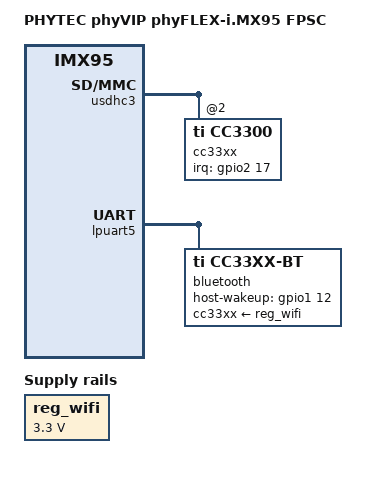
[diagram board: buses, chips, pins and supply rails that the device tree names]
// SPDX-License-Identifier: (GPL-2.0+ OR MIT)
/*
 * Copyright 2026 PHYTEC Messtechnik GmbH
 *
 * PHYTEC phyVIP carrier (PV-05832-001-1645-0-004) with phyFLEX-i.MX95 FPSC.
 *
 * The phyVIP and the Libra RDK use the same SoM, so this board is described as
 * a delta on top of the RDK device tree rather than as a copy of it. Everything
 * SoM-side is inherited unchanged; what differs is the carrier.
 *
 * The one structural difference is that the phyVIP has NO I2C GPIO expanders.
 * The RDK fits two ti,tcal6416 at 0x21 and hangs a fair amount of board control
 * off them; on phyVIP neither responds, verified on hardware:
 *
 *   i2cdetect -y -r 2   ->  0x21 absent   (426b0000.i2c, gpio_expander1)
 *   i2cdetect -y -r 3   ->  0x21 absent   (42530000.i2c, gpio_expander2)
 *
 * Left as-is, both nodes fail to probe and fw_devlink parks every consumer in
 * permanent deferred probe -- including 4c300000.pcie, which is the root
 * complex the Kinara Ara-2 sits behind (schematic sheets 21-23). That is why
 * the accelerator did not appear in lspci at all: not a driver or firmware
 * problem, the controller simply never came up.
 *
 * sfp, panel-lvds0, backlight and oscillator-mclk-gated also reference the
 * expanders, but they are already disabled in the RDK device tree, so their
 * references are harmless and are deliberately left in place.
 */

/dts-v1/;

#include "imx95-phyflex-libra-rdk.dts"

/ {
	/*
	 * The RDK compatible is kept in the list on purpose: U-Boot and the
	 * bootloader-side fixups match on it, and the SoM half of the board is
	 * genuinely identical.
	 */
	compatible = "phytec,imx95-phyflex-phyvip",
		     "phytec,imx95-phyflex-libra-rdk",
		     "phytec,imx95-phyflex-fpsc-g", "fsl,imx95";
	model = "PHYTEC phyVIP phyFLEX-i.MX95 FPSC";
};

/* Not populated on this carrier. */
&gpio_expander1 {
	status = "disabled";
};

&gpio_expander2 {
	status = "disabled";
};

/*
 * PCIE1_nWAKE / PCIE2_nWAKE have no net on phyVIP. Only the wake line comes
 * from an expander -- PCIE1_nPERST is a SoC pin (gpio1[10], net X_PCIE1_nPERST,
 * schematic sheet 23) and stays as the RDK has it.
 *
 * These two properties are what actually blocked the Kinara Ara-2: dw-pcie
 * calls gpiod_get_optional() for them, which returns -EPROBE_DEFER rather than
 * NULL while the gpiochip is missing, so disabling the expander above is not by
 * itself enough.
 */
&pcie0 {
	/delete-property/ wake-gpios;
};

&pcie1 {
	/delete-property/ wake-gpios;
};

/*
 * CAN1_STBY / CAN2_STBY are expander lines on the RDK with no phyVIP
 * equivalent. standby-gpios is optional for phy-can-transceiver, so dropping it
 * leaves both transceivers permanently active, which is the correct behaviour
 * here -- they are not software-controllable on this carrier.
 */
&can_transceiver1 {
	/delete-property/ standby-gpios;
};

&can_transceiver2 {
	/delete-property/ standby-gpios;
};

/* HD3SS3220 USB-C controller: not fitted (i2cdetect: 0x47 absent on i2c-3). */
&{/soc/bus@42000000/i2c@42530000/usb-typec@47} {
	status = "disabled";
};

/*
 * The RV3028 is present, but the RDK routes its nINT to gpio_expander2.
 * i2c_device_probe() resolves the IRQ through of_irq_get(), which returns
 * -EPROBE_DEFER while the interrupt controller is missing, so the interrupt has
 * to go explicitly or the RTC never probes. Alarm and wakeup are unavailable
 * until the phyVIP routing for RTC_INT is confirmed -- gpio2[18] carries that
 * name in the SoM gpio-line-names and is the likely candidate.
 */
&rv3028 {
	/delete-property/ interrupt-parent;
	/delete-property/ interrupts;
	/delete-property/ wakeup-source;
};

/*
 * WLAN/Bluetooth -- BDE-BW3351UP1 (TI CC33xx), schematic sheet "WLAN/Bluetooth",
 * designator U14. This is the largest carrier difference after the missing GPIO
 * expanders, and it is NOT what the RDK fits: the Libra RDK carries an NXP
 * IW612/88W8987 that the out-of-tree nxp-wlan module claims by SDIO ID alone,
 * with no device tree child at all.
 *
 * Modelled on PHYTEC's own working reference for the same chip family,
 * k3-am625-phyverso-evcs-cc3351.dtso in linux-phytec-ti (v6.12.49-11.02.02-phy).
 * Deviations from it are called out below.
 *
 * Signal routing taken from the schematic and resolved against the FPSC pinout
 * in imx95-phyflex-fpsc-g-som.dtsi:
 *
 *   SDIO      X_SD2_CLK/CMD/D0..D3 via R97..R102 (0R)  ->  FPSC SDIO = usdhc3
 *   UART      X_UART2_RXD/TXD/RTS/CTS                  ->  FPSC UART2 = lpuart5
 *   IRQ_WL    module pin 14, jumper J18 -> X_GPIO4     ->  gpio2[17] ("GPIO4")
 *   IRQ_BLE   module pin  2, jumper J19 -> X_GPIO3     ->  gpio1[12] ("GPIO3")
 *   nRESET    module pin 40 <- X_nRESET_OUT_1V8        ->  board reset, no GPIO
 *
 * Assembly, from the schematic's own stuffing convention -- sheet 1 states
 * "Parts with property 'nm' are not mounted on PCB", and the WLAN/Bluetooth
 * sheet carries no 'nm' at all (the marker does appear on 11 other sheets, so
 * its absence here is meaningful): R97..R102, J18, J19 and U14 are all fitted.
 *
 * J18/J19 are 3-pin jumpers that steer the two SoM lines between the module
 * and the CON1 expansion connector:
 *
 *   pin 1  ->  module IRQ (IRQ_WL on J18, IRQ_BLE on J19)
 *   pin 2  ->  X_GPIO4 / X_GPIO3 from the SoM
 *   pin 3  ->  GPIO4 / GPIO3 to the expansion connector (sheet 13, zone B1)
 *
 * Both are annotated 1+2, i.e. SoM line tied to the module interrupt, which is
 * what this device tree assumes. The convention was cross-checked against
 * J16/J17 on sheet 11, where the same kind of setting string next to the
 * designator ("2+3") is spelled out in prose as the populated configuration.
 * Inferred from the drawing, not from an assembly variant table -- if WLAN
 * probes but never takes an interrupt, J18 is still the first thing to meter.
 */

/ {
	/*
	 * btti_uart_probe() calls devm_regulator_get_optional(dev, "cc33xx")
	 * and bails out on any error, -ENODEV included -- despite the name,
	 * the supply is mandatory or Bluetooth does not probe at all. phyVIP
	 * has no software power switch for the module (VCC_3V3 and VCC_1V8 are
	 * always on, nRESET comes from the board reset), so this is a fixed
	 * always-on regulator, exactly as on the phyVERSO EVCS.
	 */
	reg_wifi: regulator-wifi {
		compatible = "regulator-fixed";
		regulator-name = "WIFI_EN";
		regulator-min-microvolt = <3300000>;
		regulator-max-microvolt = <3300000>;
		regulator-always-on;
		regulator-boot-on;
	};
};

&usdhc3 {
	#address-cells = <1>;
	#size-cells = <0>;

	/*
	 * Mandatory for the CC33xx, measured on the board 2026-09-03:
	 * cc33xx_sdio_power_on() calls pm_runtime_get_sync(&card->dev), but the
	 * mmc core only calls pm_runtime_enable() on that device inside an
	 * "if (host->caps & MMC_CAP_POWER_OFF_CARD)" (drivers/mmc/core/sdio.c).
	 * Without the cap, runtime PM stays disabled and get_sync returns
	 * -EACCES, which the driver reports as
	 *   cc33xx_sdio_power_on: failed to get_sync(-13)
	 *   cc33xx: ERROR FW download failed
	 * and no wlan interface ever appears. mmc_of_parse() in
	 * drivers/mmc/core/host.c turns exactly this property into that cap.
	 */
	cap-power-off-card;

	/*
	 * SDIO function 2, as on the phyVERSO EVCS -- the CC33xx puts WLAN on
	 * function 2, and the mmc core matches this node to the function by
	 * reg. With reg = <1> the node would never attach and
	 * cc33xx_probe_of() would return -ENODEV.
	 *
	 * compatible is "ti,cc3300" and not the reference's "ti,cc3301":
	 * cc33xx_sdio_of_match_table[] in the SDK 1.0.2.10 driver this layer
	 * forward-ports to 6.18 carries the single entry "ti,cc3300". The
	 * reference targets the older 6.12 TI tree.
	 *
	 * Only interrupt index 0 is given. cc33xx_probe_of() reads index 0 as
	 * the data interrupt and index 1 as a wake interrupt; IRQ_BLE belongs
	 * to the Bluetooth side and is wired there as host-wakeup-gpios.
	 */
	cc33xx: wifi@2 {
		compatible = "ti,cc3300";
		reg = <2>;
		interrupt-parent = <&gpio2>;
		interrupts = <17 IRQ_TYPE_EDGE_RISING>;
	};
};

/*
 * FPSC UART2. The RDK puts Bluetooth on lpuart8 (FPSC UART1, shared with
 * RS232/RS485) -- on phyVIP the module's UART goes to UART2 instead, so
 * imx95-phyflex-libra-rdk-bluetooth-88w8987.dtbo does not apply to this board
 * even though the machine still builds it as an available overlay.
 *
 * max-speed matches the phyVERSO reference. IRQ_BLE goes in as
 * host-wakeup-gpios, not as "interrupts": btti_uart_host_wake_init() looks the
 * line up with devm_gpiod_get_optional(dev, "host-wakeup") and ignores any
 * interrupts property. This one really is optional.
 */
&lpuart5 {
	uart-has-rtscts;
	status = "okay";

	bluetooth {
		compatible = "ti,cc33xx-bt";
		cc33xx-supply = <&reg_wifi>;
		host-wakeup-gpios = <&gpio1 12 GPIO_ACTIVE_HIGH>;
		max-speed = <115200>;
	};
};
